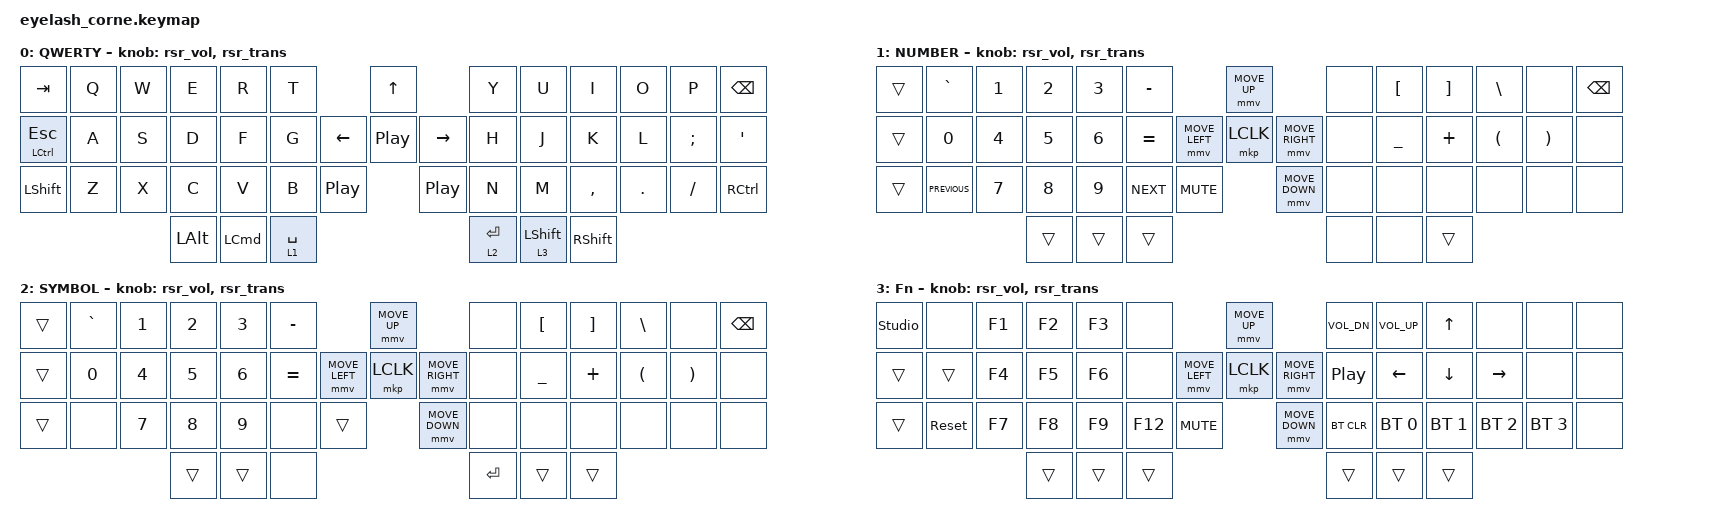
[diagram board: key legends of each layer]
#define ZMK_POINTING_DEFAULT_MOVE_VAL 1200  // 600
#define ZMK_POINTING_DEFAULT_SCRL_VAL 25   // 10

#include <input/processors.dtsi>
#include <zephyr/dt-bindings/input/input-event-codes.h>
#include <behaviors/runtime-sensor-rotate.dtsi>
#include <behaviors.dtsi>
#include <dt-bindings/zmk/bt.h>
#include <dt-bindings/zmk/keys.h>
#include <dt-bindings/zmk/pointing.h>
#include <dt-bindings/zmk/rgb.h>

&mmv_input_listener { input-processors = <&zip_xy_scaler 2 1>; };

&msc_input_listener { input-processors = <&zip_scroll_scaler 2 1>; };

&msc {
    acceleration-exponent = <1>;      // 0
    time-to-max-speed-ms = <100>;       // 300
    delay-ms = <0>;                   // 0
};

&mmv {
    time-to-max-speed-ms = <500>;
    acceleration-exponent = <1>;
    trigger-period-ms = <16>;
};

/ {
    behaviors {
        td0: td0 {
            compatible = "zmk,behavior-tap-dance";
            display-name = "Shift/Caps Lock Tap Dance";
            #binding-cells = <0>;
            bindings = <&kp LEFT_SHIFT>, <&kp CAPS>;
        };

        rsr_trans: rsr_trans {
            compatible = "zmk,behavior-runtime-sensor-rotate";
            #sensor-binding-cells = <0>;
            tap-ms = <0>;
        };

        rsr_vol: rsr_vol {
            compatible = "zmk,behavior-runtime-sensor-rotate";
            #sensor-binding-cells = <0>;
            tap-ms = <5>;
            cw-binding = <&kp C_VOL_UP>;
            ccw-binding = <&kp C_VOL_DN>;
        };
    };

    rgb_encoder: rgb_encoder {
        compatible = "zmk,behavior-sensor-rotate";
        #sensor-binding-cells = <0>;
        bindings = <&rgb_ug RGB_BRI>, <&rgb_ug RGB_BRD>;
    };

    scroll_encoder: scroll_encoder {
        compatible = "zmk,behavior-sensor-rotate";
        #sensor-binding-cells = <0>;
        bindings = <&msc SCRL_DOWN>, <&msc SCRL_UP>;

        tap-ms = <100>;
    };

    combos {
        compatible = "zmk,combos";

        esc {
            bindings = <&kp ESCAPE>;
            key-positions = <16 17>;
        };

        enter {
            bindings = <&kp ENTER>;
            key-positions = <23 24>;
        };

        control {
            bindings = <&kp RIGHT_CONTROL>;
            key-positions = <24 25>;
        };
    };

    keymap {
        compatible = "zmk,keymap";

        default_layer {
            display-name = "QWERTY";
            bindings = <
&kp TAB               &kp Q  &kp W  &kp E         &kp R             &kp T                                      &kp UP               &kp Y        &kp U             &kp I            &kp O    &kp P     &kp BSPC
&mt LEFT_CONTROL ESC  &kp A  &kp S  &kp D         &kp F             &kp G                            &kp LEFT  &kp C_PP  &kp RIGHT  &kp H        &kp J             &kp K            &kp L    &kp SEMI  &kp SQT
&kp LEFT_SHIFT        &kp Z  &kp X  &kp C         &kp V             &kp B        &kp C_PLAY_PAUSE              &kp C_PP             &kp N        &kp M             &kp COMMA        &kp DOT  &kp FSLH  &kp RIGHT_CONTROL
                                    &kp LEFT_ALT  &kp LEFT_COMMAND  &lt 1 SPACE                                                     &lt 2 ENTER  &lt 3 LEFT_SHIFT  &kp RIGHT_SHIFT
            >;

            sensor-bindings = <&rsr_vol &rsr_trans>;
        };

        lower_layer {
            display-name = "NUMBER";
            bindings = <
&trans  &kp GRAVE       &kp NUMBER_1  &kp NUMBER_2  &kp NUMBER_3  &kp MINUS                                 &mmv MOVE_UP                     &none  &kp LEFT_BRACKET  &kp RIGHT_BRACKET  &kp BACKSLASH         &none                  &kp BSPC
&trans  &kp NUMBER_0    &kp NUMBER_4  &kp NUMBER_5  &kp NUMBER_6  &kp EQUAL                 &mmv MOVE_LEFT  &mkp LCLK       &mmv MOVE_RIGHT  &none  &kp UNDERSCORE    &kp PLUS           &kp LEFT_PARENTHESIS  &kp RIGHT_PARENTHESIS  &none
&trans  &kp C_PREVIOUS  &kp NUMBER_7  &kp NUMBER_8  &kp NUMBER_9  &kp C_NEXT  &kp C_MUTE                    &mmv MOVE_DOWN                   &none  &none             &none              &none                 &none                  &none
                                      &trans        &trans        &trans                                                                     &none  &none             &trans
            >;

            sensor-bindings = <&rsr_vol &rsr_trans>;
        };

        raise_layer {
            display-name = "SYMBOL";
            bindings = <
&trans  &kp GRAVE     &kp NUMBER_1  &kp NUMBER_2  &kp NUMBER_3  &kp MINUS                            &mmv MOVE_UP                     &none    &kp LEFT_BRACKET  &kp RIGHT_BRACKET  &kp BACKSLASH         &none                  &kp BSPC
&trans  &kp NUMBER_0  &kp NUMBER_4  &kp NUMBER_5  &kp NUMBER_6  &kp EQUAL            &mmv MOVE_LEFT  &mkp LCLK       &mmv MOVE_RIGHT  &none    &kp UNDERSCORE    &kp PLUS           &kp LEFT_PARENTHESIS  &kp RIGHT_PARENTHESIS  &none
&trans  &none         &kp NUMBER_7  &kp NUMBER_8  &kp NUMBER_9  &none      &trans                    &mmv MOVE_DOWN                   &none    &none             &none              &none                 &none                  &none
                                    &trans        &trans        &none                                                                 &kp RET  &trans            &trans
            >;

            sensor-bindings = <&rsr_vol &rsr_trans>;
        };

        layer_3 {
            display-name = "Fn";
            bindings = <
&studio_unlock  &none       &kp F1  &kp F2  &kp F3  &none                                  &mmv MOVE_UP                     &kp C_VOL_DN      &kp C_VOLUME_UP  &kp UP_ARROW  &none         &none         &none
&trans          &trans      &kp F4  &kp F5  &kp F6  &none                  &mmv MOVE_LEFT  &mkp LCLK       &mmv MOVE_RIGHT  &kp C_PLAY_PAUSE  &kp LEFT         &kp DOWN      &kp RIGHT     &none         &none
&trans          &sys_reset  &kp F7  &kp F8  &kp F9  &kp F12  &kp C_MUTE                    &mmv MOVE_DOWN                   &bt BT_CLR        &bt BT_SEL 0     &bt BT_SEL 1  &bt BT_SEL 2  &bt BT_SEL 3  &none
                                    &trans  &trans  &trans                                                                  &trans            &trans           &trans
            >;

            sensor-bindings = <&rsr_vol &rsr_trans>;
        };
    };
};
